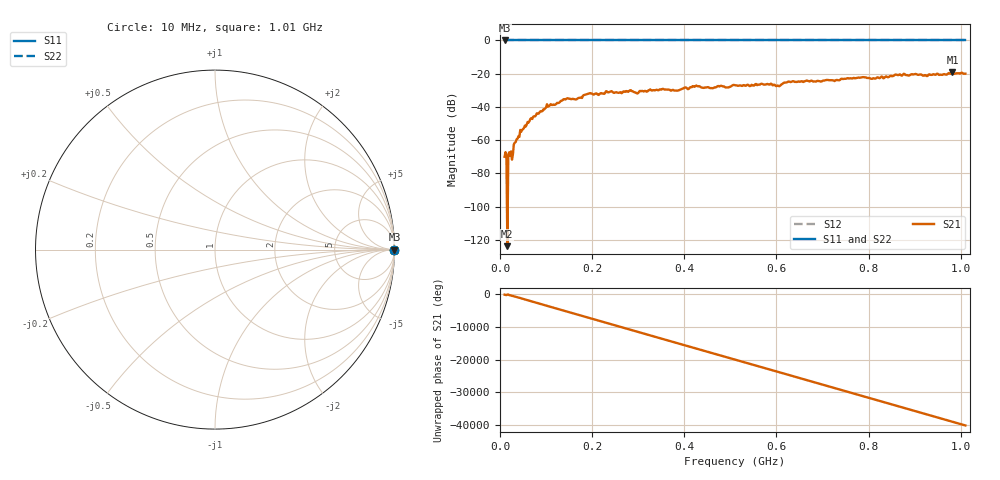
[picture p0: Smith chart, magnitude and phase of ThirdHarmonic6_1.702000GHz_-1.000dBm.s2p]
! 8/16/2025 8:27:44 PM
! C:\ANRITSUVNA\TEMP\TEMP.S2P
! CHANNEL.1
! TR.MEASUREMENT
! RAW.DATA
! RF.CORRECTION.OFF
! AVERAGING.OFF
! IF.BANDWIDTH: 5KHZ
! SWEEPTYPE:  FREQ.SWEEP(Linear)
! Reference Plane Port Info
! PORT:  PORT1  PORT2
! DISTANCE:  0  m  0  m
! TIME:  0  s  0  s
! PHASE.OFFSET:  0  deg.  0  deg.
! LOSS:  0  dB  0  dB
! REF.LOSS:  0  dB  0  dB
! REF.FREQ:  0  Hz  0  Hz
! Power Info
! POWER:  -20  dBm  -20  dBm
! EFF.POWER:  -20  dBm  -20  dBm
! SOURCE.ATTEN:  0  dB  0  dB
! TEST.ATTEN:  0  dB  0  dB
# GHZ S RI R 50.0
! FREQ.GHZ  S11RE  S11IM  S21RE  S21IM  S12RE  S12IM  S22RE  S22IM
!; PortSelection: Port_12
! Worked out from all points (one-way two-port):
!   501 points, 10 MHz to 1.01 GHz, reference 50 ohm
!   highest |S21| = -19.25 dB at 982 MHz (marker M1); lowest = -123.9 dB at 16 MHz (marker M2)
!   lowest |S11| = 0.0 dB at 10 MHz (marker M3)
!   |S11| at or under -10 dB: nowhere
!   |S22| runs from 0.0 to 0.0 dB; largest |S21 - S12| = 1.1
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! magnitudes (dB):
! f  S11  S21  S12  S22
! 10 MHz  0.0  -70.0  0.0  0.0
! 12 MHz  0.0  -67.2  0.0  0.0
! 16 MHz  0.0  -123.9  0.0  0.0
! 26 MHz  0.0  -71.8  0.0  0.0
! 34 MHz  0.0  -61.2  0.0  0.0
! 48 MHz  0.0  -53.9  0.0  0.0
! 70 MHz  0.0  -47.3  0.0  0.0
! 106 MHz  0.0  -39.5  0.0  0.0
! 142 MHz  0.0  -35.6  0.0  0.0
! 178 MHz  0.0  -34.6  0.0  0.0
! 194 MHz  0.0  -31.8  0.0  0.0
! 284 MHz  0.0  -29.9  0.0  0.0
! 296 MHz  0.0  -31.7  0.0  0.0
! 344 MHz  0.0  -30.0  0.0  0.0
! 382 MHz  0.0  -30.1  0.0  0.0
! 510 MHz  0.0  -26.9  0.0  0.0
! 604 MHz  0.0  -27.3  0.0  0.0
! 624 MHz  0.0  -25.0  0.0  0.0
! 678 MHz  0.0  -24.5  0.0  0.0
! 844 MHz  0.0  -21.9  0.0  0.0
! 982 MHz  0.0  -19.2  0.0  0.0
! 1.01 GHz  0.0  -20.0  0.0  0.0
